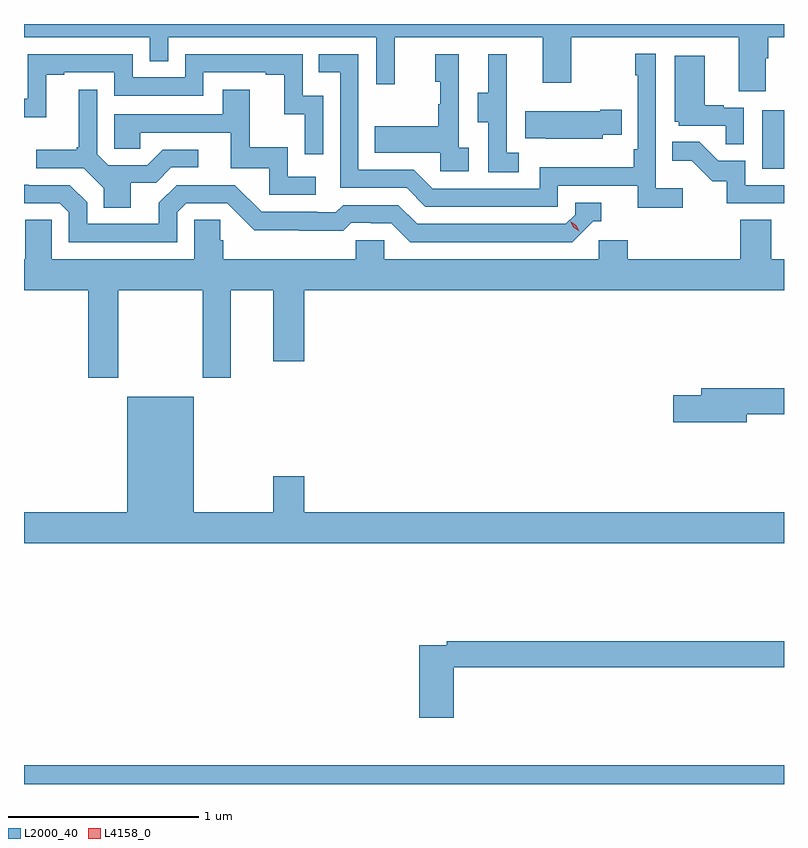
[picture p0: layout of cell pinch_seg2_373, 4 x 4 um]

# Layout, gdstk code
import gdstk
lib = gdstk.Library(unit=1e-6, precision=1e-09)
def R(c, l, rs):  # rectangles x0, y0, x1, y1
    for r in rs: c.add(gdstk.rectangle(r[:2], r[2:], *l))
def P(c, l, *ps):  # polygons
    for p in ps: c.add(gdstk.Polygon(p, *l))
L2000_40 = (2000, 40)
L4158_0 = (4158, 0)

pinch_seg2_373 = lib.new_cell('pinch_seg2_373')
R(pinch_seg2_373, L2000_40, [(990.868,605.077,994.868,605.176), (994.754,608.316,994.868,608.623)])
P(pinch_seg2_373, L2000_40, [(994.771,608.896),(994.784,608.896),(994.784,609.008),(994.868,609.008),(994.868,609.077),(990.868,609.077),(990.868,609.008),(991.53,609.008),(991.53,608.881),(991.626,608.881),(991.626,609.008),(992.721,609.008),(992.721,608.76),(992.819,608.76),(992.819,609.008),(993.599,609.008),(993.599,608.769),(993.747,608.769),(993.747,609.008),(994.631,609.008),(994.631,608.722),(994.771,608.722)],
  [(994.336,608.212),(994.194,608.212),(994.194,608.92),(994.086,608.92),(994.086,608.807),(994.098,608.807),(994.098,608.419),(994.078,608.419),(994.078,608.323),(993.582,608.323),(993.582,608.211),(993.018,608.211),(992.919,608.31),(992.628,608.31),(992.628,608.919),(992.419,608.919),(992.419,608.823),(992.532,608.823),(992.532,608.214),(992.882,608.214),(992.981,608.115),(993.678,608.115),(993.678,608.226),(994.097,608.226),(994.097,608.11),(994.336,608.11)],
  [(992.442,608.7),(992.334,608.7),(992.334,608.919),(991.716,608.919),(991.716,608.796),(991.44,608.796),(991.44,608.919),(990.888,608.919),(990.888,608.683),(990.868,608.683),(990.868,608.585),(990.985,608.585),(990.985,608.811),(991.081,608.811),(991.081,608.823),(991.344,608.823),(991.344,608.7),(991.812,608.7),(991.812,608.823),(992.141,608.823),(992.141,608.811),(992.237,608.811),(992.237,608.603),(992.346,608.603),(992.346,608.391),(992.442,608.391)],
  [(993.208,608.426),(993.156,608.426),(993.156,608.917),(993.032,608.917),(993.032,608.772),(993.058,608.772),(993.058,608.654),(993.048,608.654),(993.048,608.539),(992.713,608.539),(992.713,608.399),(993.06,608.399),(993.06,608.301),(993.208,608.301)],
  [(993.472,608.399),(993.408,608.399),(993.408,608.703),(993.41,608.703),(993.41,608.917),(993.311,608.917),(993.311,608.715),(993.257,608.715),(993.257,608.56),(993.312,608.56),(993.312,608.296),(993.472,608.296)],
  [(994.656,608.637),(994.55,608.637),(994.55,608.65),(994.45,608.65),(994.45,608.911),(994.292,608.911),(994.292,608.562),(994.314,608.562),(994.314,608.541),(994.561,608.541),(994.561,608.443),(994.656,608.443)],
  [(991.429,608.242),(991.564,608.242),(991.644,608.322),(991.786,608.322),(991.786,608.415),(991.598,608.415),(991.517,608.334),(991.311,608.334),(991.254,608.391),(991.254,608.731),(991.157,608.731),(991.157,608.428),(991.146,608.428),(991.146,608.416),(990.933,608.416),(990.933,608.319),(991.182,608.319),(991.289,608.212),(991.289,608.11),(991.429,608.11)],
  [(992.404,608.274),(992.256,608.274),(992.256,608.428),(992.057,608.428),(992.057,608.731),(991.913,608.731),(991.913,608.601),(991.344,608.601),(991.344,608.421),(991.481,608.421),(991.481,608.505),(991.955,608.505),(991.955,608.319),(992.16,608.319),(992.16,608.178),(992.404,608.178)],
  [(993.915,608.495),(994.013,608.495),(994.013,608.625),(993.902,608.625),(993.902,608.617),(993.505,608.617),(993.505,608.477),(993.613,608.477),(993.613,608.474),(993.915,608.474)],
  [(994.868,608.229),(994.665,608.229),(994.665,608.358),(994.521,608.358),(994.423,608.456),(994.279,608.456),(994.279,608.357),(994.383,608.357),(994.49,608.25),(994.567,608.25),(994.567,608.133),(994.868,608.133)],
  [(991.674,608.085),(991.722,608.133),(991.938,608.133),(992.08,607.991),(992.316,607.991),(992.316,607.989),(992.549,607.989),(992.591,608.031),(992.694,608.031),(992.694,608.028),(992.801,608.028),(992.9,607.929),(993.753,607.929),(993.864,608.04),(993.907,608.04),(993.907,608.136),(993.768,608.136),(993.768,608.073),(993.72,608.025),(992.937,608.025),(992.838,608.124),(992.549,608.124),(992.51,608.085),(992.411,608.085),(992.411,608.088),(992.118,608.088),(991.977,608.229),(991.671,608.229),(991.577,608.135),(991.577,608.025),(991.2,608.025),(991.2,608.139),(991.11,608.229),(990.894,608.229),(990.894,608.231),(990.868,608.231),(990.868,608.133),(991.056,608.133),(991.104,608.085),(991.104,607.929),(991.674,607.929)],
  [(991.365,607.676),(991.81,607.676),(991.81,607.215),(991.957,607.215),(991.957,607.676),(992.18,607.676),(992.18,607.302),(992.344,607.302),(992.344,607.676),(994.868,607.676),(994.868,607.84),(994.802,607.84),(994.802,608.048),(994.637,608.048),(994.637,607.84),(994.046,607.84),(994.046,607.938),(993.894,607.938),(993.894,607.84),(992.763,607.84),(992.763,607.938),(992.613,607.938),(992.613,607.84),(991.916,607.84),(991.916,607.938),(991.901,607.938),(991.901,608.048),(991.764,608.048),(991.764,607.84),(991.014,607.84),(991.014,608.048),(990.875,608.048),(990.875,607.84),(990.868,607.84),(990.868,607.676),(991.205,607.676),(991.205,607.215),(991.365,607.215)],
  [(994.672,607.024),(994.868,607.024),(994.868,607.16),(994.433,607.16),(994.433,607.124),(994.284,607.124),(994.284,606.982),(994.672,606.982)],
  [(994.868,606.508),(992.344,606.508),(992.344,606.697),(992.18,606.697),(992.18,606.508),(991.762,606.508),(991.762,607.114),(991.412,607.114),(991.412,606.508),(990.868,606.508),(990.868,606.344),(994.868,606.344)],
  [(993.131,605.692),(994.868,605.692),(994.868,605.828),(993.094,605.828),(993.094,605.808),(992.948,605.808),(992.948,605.427),(993.131,605.427)])
P(pinch_seg2_373, L4158_0, [(993.79,607.986),(993.759,608.006),(993.743,608.038),(993.743,608.039),(993.744,608.039),(993.774,608.019),(993.79,607.986),(993.79,607.986)])

lib.write_gds('pinch_seg2_373.gds')
